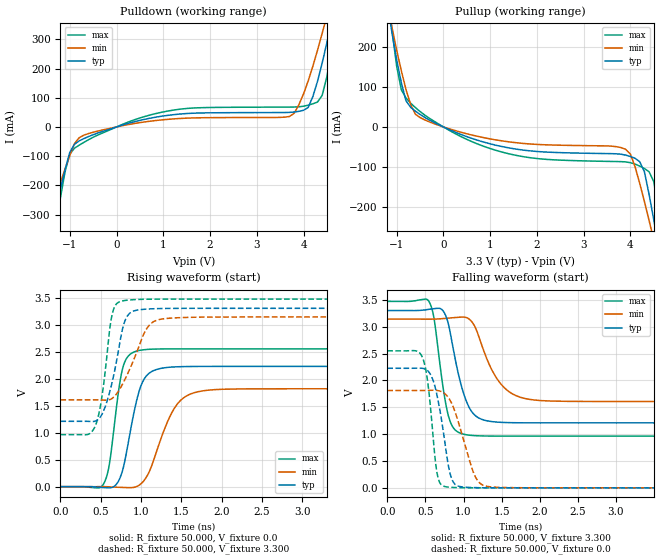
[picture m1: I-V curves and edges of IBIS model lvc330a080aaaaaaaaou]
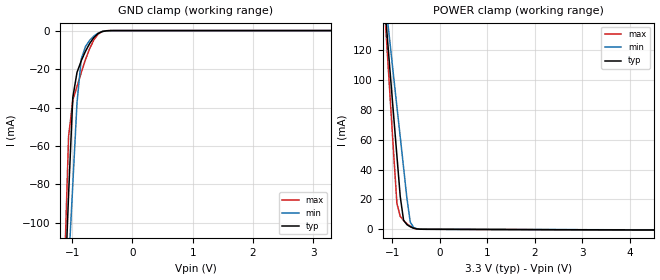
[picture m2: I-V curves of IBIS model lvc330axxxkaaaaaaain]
| IBIS Models Generator: Lattice Radiant Software (64-bit) 3.1.1.232.1
| Report Generate Date: Aug 24 2022
| Report Generate Time: 15:30:07
|IBIS file ice40up.ibs
|Lattice Semiconductor Corporation
[IBIS ver]   4.2
[File Name]   dev_board_test_impl_1.ibs
[File Rev]   2.0
[Date]   1/26/2018
[Source]   Simulation
[Notes]   Final IBIS models
   The data below was generated using simulation of the
   input/output model files for the silicon.  Therefore,
   the data below is for reference and initial design
   purposes only.
|   The model applies to iCE40 ULTRA PLUS.
   Lattice Semiconductor grants permission to use this
   data for use in printed circuit design using this
   Lattice programmable logic device.  Other use of this
   code, including the selling or duplication of any
   portion is strictly prohibited.
|   NAMING CONVENTION
   The IBIS [Model] header is limited by the specification to a
   total of characters.  With such a set of characters available
   for naming models it becomes important to attempt to
   meaningfully encode the IO standards so they fit within the
   twenty character limit.  It would seem that twenty characters
   would provide room enough for describing IO's.  However, the
   PLD IO structure continues to grow more and more complex.  The
   complexity is making the twenty characters insuffiently
   descriptive.  In order to overcome this issue the naming
   convention described below is implemented to resolve the issue.
The twenty character space is managed as follows:
   bbbvvvsdddprtaaaoixx
   b = standard
   v = voltage (x.xx V)
   s = slew code
   d = drive (xx.x ma)
   p = pullmode code
   r = impedance
   t = mipi hard dphy mode
   o = diff resistor code
   i = diff  current code
   x = reserved
   standard
   LVCMOS   lvc
   lvdse   lve
   slew
   na   a
   fast   f
   slow   s
   pullmode
   off   a
   100k   b
   3p3k   i
   6p8k   j
   10k   k
   impedance
   off   a
   mipi hard dphy mode
   off   a
   lp   l
   hs   h
   differential resistor
   off   a
   100   b
   differential current
   NA   a
   3.5   c
   Reserved   IO type
   in   input only (mipi: rx)
   ou   output (mipi: tx)
   io   I/O
   od   Open drain
   on   Inverting differential I/O
   (signal name only)
   op   Non-Inverting differential I/O
   (signal name only)
   Lattice Semiconductor Corporation
   5555 NE Moore Court
   Hillsboro, OR 97214
   U.S.A
   TEL: 1-800-Lattice (USA and Canada)
   408-826-6000 (other locations)
   web: http://www.latticesemi.com/
   email: techsupport@latticesemi.com
[Disclaimer] This IBIS source code is intended as a design reference
   which illustrates how the Lattice Semiconductor device operates.
   It is the user's responsibility to verify their design for
   consistency and functionality through the use of formal
   verification methods.  Lattice Semiconductor provides no warranty
   regarding the use or functionality of this data.
[Copyright]   Copyright 2018 by Lattice Semiconductor Corporation
|   Component ice40_ultra_plus
[Component]   ice40_ultra_plus
[Manufacturer]   UMC
[Package]
| SG48
| variable   Typ   Min   Max
R_pkg   294.15m   225.91m   395.17m
L_pkg   2.652nH   1.989nH   3.504nH
C_pkg   0.2807pF   0.2236pF   0.3481pF
[Pin]  signal_name   model_name   R_pin   L_pin   C_pin
25   fpga_blink_out   lvc330a080aaaaaaaaou
38   mcu_echo_led   lvc330a080aaaaaaaaou
23   mcu_blink_in   lvc330axxxkaaaaaaain
| Models and submodels in the file (2): lvc330a080aaaaaaaaou (Output), lvc330axxxkaaaaaaain (Input)
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[Model] lvc330a080aaaaaaaaou
Model_type Output
Polarity   Non-Inverting
Vmeas =  1.650V
Cref =  0.0F
Rref =  1.000M
Vref =  0.0V
C_comp   5.000pF   4.000pF   5.500pF
[Temperature Range]   25.000   0.125k   -40.000
[Voltage Range]   3.300V   3.140V   3.470V
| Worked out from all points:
|   slope of the pulldown table from 0 to 0.495 V, typ, clamps not added: 22.2 ohm
|   slope of the pullup table from 0 to 0.495 V, typ, clamps not added: 20.5 ohm
|   rising waveform, R_fixture 50.000, V_fixture 0.0: 20-80 % time 185ps typ, 288ps min, 134ps max; typ from 0 V to 2.23 V
|   rising waveform, R_fixture 50.000, V_fixture 3.300: 20-80 % time 178ps typ, 261ps min, 124ps max; typ from 1.21 V to 3.3 V
|   falling waveform, R_fixture 50.000, V_fixture 3.300: 20-80 % time 207ps typ, 307ps min, 149ps max; typ from 3.3 V to 1.21 V
|   falling waveform, R_fixture 50.000, V_fixture 0.0: 20-80 % time 154ps typ, 231ps min, 107ps max; typ from 2.23 V to 0 V
[Pulldown]
|Voltage   I(typ)   I(min)   I(max)
-3.3V     -1.776A    -1.307A    -2.431A
-1.5V     -423.6mA   -342.8mA   -538.4mA
-1.4V     -351.5mA   -291.1mA   -437.4mA
-1.3V     -280.6mA   -240.3mA   -338.1mA
-1V       -86.97mA   -97.65mA   -93.09mA
-600mV    -33.08mA   -22.8mA    -43.84mA
1.2V      41.65mA    27.29mA    57.19mA
3.7V      49.78mA    35.79mA    67.98mA
4.1V      66.56mA    157.4mA    74.46mA
4.5V      288.6mA    381.2mA    171.9mA
4.7V      439.3mA    507.4mA    377.8mA
6.6V      2.168A     1.924A     3.534A
[Pullup]
|Voltage   I(typ)   I(min)   I(max)
-3.3V     2.151A     1.834A     3.789A
-1.1V     235.9mA    249.4mA    241.7mA
-900mV    110.8mA    140.5mA    92.9mA
-700mV    49.1mA     55.83mA    59.51mA
-500mV    31.42mA    23.54mA    38.71mA
1.3V      -50.32mA   -35.76mA   -64.44mA
3.8V      -68.46mA   -51.76mA   -86.99mA
4V        -74.06mA   -67.96mA   -89.6mA
4.2V      -87.28mA   -141.6mA   -98.17mA
4.5V      -232.6mA   -283.4mA   -137mA
4.7V      -369.1mA   -384.5mA   -298.2mA
6.6V      -1.78A     -1.393A    -2.261A
[Ramp]
| variable   typ   min   max
dV/dt_r   1.335/0.193n   1.087/0.297n   1.530/0.140n
dV/dt_f   1.255/0.212n   0.920/0.311n   1.505/0.156n
R_load = 50.000
[Rising Waveform]
R_fixture= 50.000
V_fixture= 0.0
V_fixture_min= 0.0
V_fixture_max= 0.0
|time   V(typ)   V(min)   V(max)
0s        0V         0V         0V
536ps     -16.16mV   759.6uV    52.64mV
606ps     -21.46mV   -2.929mV   401.5mV
725ps     115.9mV    -11.53mV   1.805V
775ps     321mV      -14.23mV   2.204V
999ps     1.864V     52.71mV    2.526V
1.129ns   2.127V     373.8mV    2.543V
1.414ns   2.215V     1.45V      2.55V
1.764ns   2.225V     1.772V     2.55V
10ns      2.225V     1.812V     2.55V
[Rising Waveform]
R_fixture= 50.000
V_fixture= 3.300
V_fixture_min= 3.140
V_fixture_max= 3.470
|time   V(typ)   V(min)   V(max)
0s        1.209V     1.607V     962.5mV
332ps     1.209V     1.607V     963mV
426ps     1.21V      1.607V     1.102V
516ps     1.34V      1.604V     1.673V
641ps     1.928V     1.633V     3.18V
789ps     3.016V     1.951V     3.442V
874ps     3.224V     2.222V     3.456V
1.074ns   3.286V     2.93V      3.468V
1.334ns   3.298V     3.115V     3.47V
10ns      3.3V       3.14V      3.47V
[Falling Waveform]
R_fixture= 50.000
V_fixture= 3.300
V_fixture_min= 3.140
V_fixture_max= 3.470
|time   V(typ)   V(min)   V(max)
0s        3.3V       3.14V      3.47V
548ps     3.323V     3.139V     3.464V
612ps     3.334V     3.141V     3.159V
730ps     3.297V     3.15V      1.883V
801ps     3.05V      3.159V     1.342V
1.038ns   1.61V      3.168V     988mV
1.184ns   1.314V     2.882V     969.4mV
1.489ns   1.22V      1.935V     963mV
1.938ns   1.21V      1.634V     962.5mV
10ns      1.209V     1.607V     962.5mV
[Falling Waveform]
R_fixture= 50.000
V_fixture= 0.0
V_fixture_min= 0.0
V_fixture_max= 0.0
|time   V(typ)   V(min)   V(max)
0s        2.225V     1.812V     2.55V
464ps     2.224V     1.812V     2.415V
532ps     2.176V     1.814V     1.949V
651ps     1.728V     1.813V     287.9mV
772ps     678.2mV    1.729V     19.5mV
833ps     216.8mV    1.605V     10.3mV
894ps     59.61mV    1.393V     5.856mV
1.146ns   4.774mV    233.2mV    594.5uV
1.315ns   1.376mV    26.01mV    127.7uV
10ns      0V         0V         0V
[Model] lvc330axxxkaaaaaaain
Model_type Input
Polarity   Non-Inverting
Vinl =  0.800V
Vinh =  2.000V
C_comp   5.000pF   4.000pF   5.500pF
[Temperature Range]   25.000   0.125k   -40.000
[Voltage Range]   3.300V   3.140V   3.470V
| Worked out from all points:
|   GND clamp passes 1 mA (typ) near -0.54 V on its own axis
|   POWER clamp passes 1 mA (typ) near -0.57 V on its own axis
[GND_clamp]
|Voltage   I(typ)   I(min)   I(max)
-3.3V     -1.953A    -1.52A     -2.429A
-1.13V    -142.2mA   -164.9mA   -126mA
-1.06V    -85.07mA   -122.3mA   -55.02mA
-990mV    -34.78mA   -79.96mA   -36.14mA
-920mV    -21.73mA   -37.42mA   -29.09mA
-850mV    -15.72mA   -14.87mA   -21.87mA
-780mV    -10.79mA   -8.332mA   -15.12mA
-640mV    -3.576mA   -2.823mA   -4.831mA
-570mV    -1.52mA    -1.338mA   -1.864mA
-500mV    -469.6uA   -487.6uA   -474.9uA
-360mV    -13.02uA   -24.08uA   -8.843uA
3.3V      0A         0A         0A
[POWER_clamp]
|Voltage   I(typ)   I(min)   I(max)
-3.3V     1.153A     923.9mA    1.395A
-1.18V    159.7mA    164.7mA    158mA
-1.11V    131.7mA    143.8mA    122.2mA
-1.04V    103.9mA    123mA      86.6mA
-900mV    49.07mA    81.98mA    17.21mA
-830mV    21.86mA    61.79mA    8.649mA
-760mV    6.031mA    41.28mA    5.945mA
-690mV    3.144mA    20.81mA    3.739mA
-620mV    1.709mA    4.915mA    2.004mA
-550mV    754.4uA    1.278mA    815.8uA
-270mV    27.09uA    24.73uA    33.18uA
6.6V      -653.7uA   -545.5uA   -806.5uA
